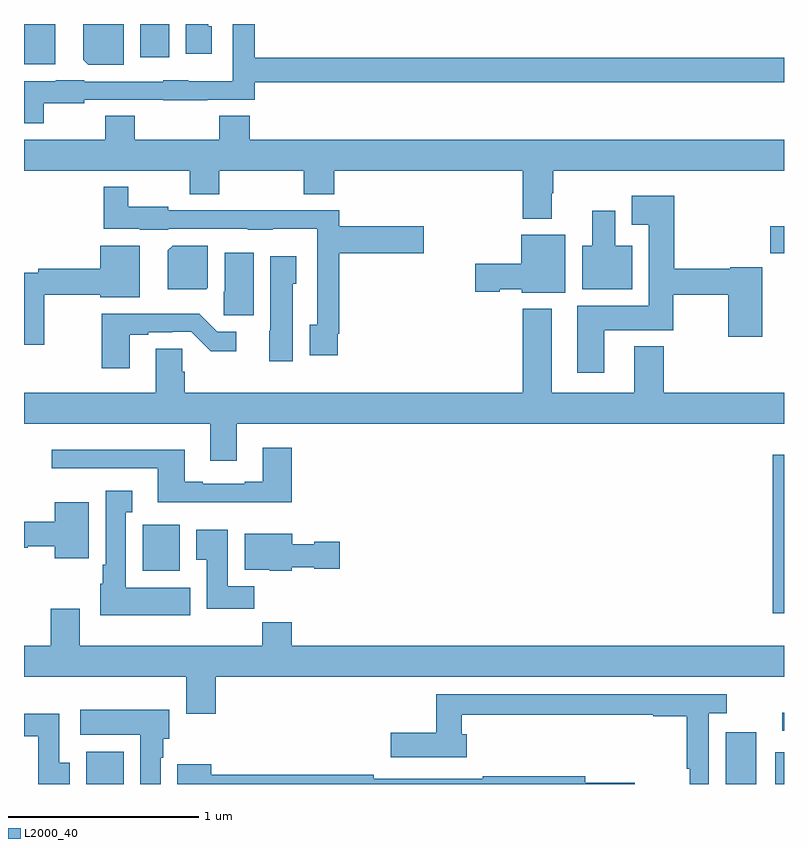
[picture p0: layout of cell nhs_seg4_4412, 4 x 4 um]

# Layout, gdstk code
import gdstk
lib = gdstk.Library(unit=1e-6, precision=1e-09)
def R(c, l, rs):  # rectangles x0, y0, x1, y1
    for r in rs: c.add(gdstk.rectangle(r[:2], r[2:], *l))
def P(c, l, *ps):  # polygons
    for p in ps: c.add(gdstk.Polygon(p, *l))
L2000_40 = (2000, 40)

nhs_seg4_4412 = lib.new_cell('nhs_seg4_4412')
R(nhs_seg4_4412, L2000_40, [(347.327,818.9,347.524,819.07), (350.693,818.9,350.854,819.172), (350.954,818.9,351,819.067), (350.991,819.18,351,819.276), (350.942,819.798,351,820.633), (347.624,820.022,347.821,820.264), (350.928,821.693,351,821.835), (347,822.689,347.164,822.9), (347.612,822.726,347.764,822.9)])
P(nhs_seg4_4412, L2000_40, [(347.104,822.482),(347.316,822.482),(347.316,822.501),(347.733,822.501),(347.733,822.5),(347.965,822.5),(347.965,822.501),(348.215,822.501),(348.215,822.594),(351,822.594),(351,822.722),(348.215,822.722),(348.215,822.9),(348.099,822.9),(348.099,822.598),(347.865,822.598),(347.865,822.604),(347.733,822.604),(347.733,822.597),(347.316,822.597),(347.316,822.604),(347.166,822.604),(347.166,822.598),(347,822.598),(347,822.377),(347.104,822.377)],
  [(347.524,822.9),(347.312,822.9),(347.312,822.712),(347.338,822.686),(347.524,822.686)],
  [(347.989,822.888),(347.971,822.888),(347.971,822.9),(347.852,822.9),(347.852,822.744),(347.989,822.744)],
  [(349.777,822.008),(349.785,822.008),(349.785,822.128),(351,822.128),(351,822.292),(348.188,822.292),(348.188,822.416),(348.028,822.416),(348.028,822.292),(347.583,822.292),(347.583,822.416),(347.428,822.416),(347.428,822.292),(347,822.292),(347,822.128),(347.872,822.128),(347.872,822.004),(348.027,822.004),(348.027,822.128),(348.472,822.128),(348.472,822.004),(348.632,822.004),(348.632,822.128),(349.625,822.128),(349.625,821.876),(349.777,821.876)],
  [(348.652,821.269),(348.659,821.269),(348.659,821.693),(349.105,821.693),(349.105,821.835),(348.659,821.835),(348.659,821.919),(348.409,821.919),(348.409,821.921),(348.177,821.921),(348.177,821.919),(347.76,821.919),(347.76,821.938),(347.548,821.938),(347.548,822.043),(347.419,822.043),(347.419,821.822),(347.61,821.822),(347.61,821.816),(347.76,821.816),(347.76,821.823),(348.177,821.823),(348.177,821.816),(348.309,821.816),(348.309,821.822),(348.543,821.822),(348.543,821.318),(348.503,821.318),(348.503,821.157),(348.652,821.157)],
  [(350.053,821.288),(350.418,821.288),(350.418,821.476),(350.707,821.476),(350.707,821.253),(350.885,821.253),(350.885,821.62),(350.718,821.62),(350.718,821.612),(350.423,821.612),(350.423,821.995),(350.198,821.995),(350.198,821.843),(350.288,821.843),(350.288,821.416),(349.913,821.416),(349.913,821.064),(350.053,821.064)],
  [(350.2,821.734),(350.113,821.734),(350.113,821.917),(349.991,821.917),(349.991,821.734),(349.937,821.734),(349.937,821.504),(350.2,821.504)],
  [(349.849,821.791),(349.616,821.791),(349.616,821.639),(349.374,821.639),(349.374,821.492),(349.503,821.492),(349.503,821.504),(349.62,821.504),(349.62,821.486),(349.849,821.486)],
  [(347.106,821.476),(347.402,821.476),(347.402,821.462),(347.608,821.462),(347.608,821.734),(347.402,821.734),(347.402,821.612),(347.074,821.612),(347.074,821.592),(347,821.592),(347,821.211),(347.106,821.211)],
  [(347.968,821.512),(347.968,821.734),(347.782,821.734),(347.756,821.708),(347.756,821.504),(347.96,821.504)],
  [(348.208,821.695),(348.056,821.695),(348.056,821.49),(348.052,821.49),(348.052,821.367),(348.208,821.367)],
  [(348.415,821.532),(348.433,821.532),(348.433,821.677),(348.296,821.677),(348.296,821.286),(348.29,821.286),(348.29,821.124),(348.415,821.124)],
  [(348.121,820.796),(351,820.796),(351,820.96),(350.366,820.96),(350.366,821.203),(350.213,821.203),(350.213,820.96),(349.777,820.96),(349.777,821.401),(349.625,821.401),(349.625,820.96),(347.846,820.96),(347.846,821.07),(347.832,821.07),(347.832,821.192),(347.693,821.192),(347.693,820.96),(347,820.96),(347,820.796),(347.981,820.796),(347.981,820.602),(348.121,820.602)],
  [(347.557,821.265),(347.653,821.265),(347.653,821.277),(347.78,821.277),(347.78,821.28),(347.88,821.28),(347.983,821.178),(348.118,821.178),(348.118,821.28),(348.018,821.28),(347.923,821.375),(347.41,821.375),(347.41,821.088),(347.557,821.088)],
  [(348.41,820.669),(348.257,820.669),(348.257,820.492),(348.161,820.492),(348.161,820.479),(347.941,820.479),(347.941,820.492),(347.845,820.492),(347.845,820.66),(347.145,820.66),(347.145,820.563),(347.705,820.563),(347.705,820.382),(348.41,820.382)],
  [(347.875,819.934),(347.536,819.934),(347.536,820.331),(347.569,820.331),(347.569,820.444),(347.429,820.444),(347.429,820.054),(347.414,820.054),(347.414,819.954),(347.402,819.954),(347.402,819.788),(347.875,819.788)],
  [(347.341,820.384),(347.162,820.384),(347.162,820.28),(347,820.28),(347,820.144),(347.019,820.144),(347.019,820.152),(347.162,820.152),(347.162,820.088),(347.341,820.088)],
  [(348.212,819.94),(348.073,819.94),(348.073,820.237),(347.906,820.237),(347.906,820.081),(347.963,820.081),(347.963,819.822),(348.212,819.822)],
  [(348.408,820.04),(348.528,820.04),(348.528,820.033),(348.661,820.033),(348.661,820.175),(348.528,820.175),(348.528,820.162),(348.412,820.162),(348.412,820.216),(348.161,820.216),(348.161,820.028),(348.294,820.028),(348.294,820.022),(348.408,820.022)],
  [(348.008,819.464),(351,819.464),(351,819.628),(348.41,819.628),(348.41,819.752),(348.253,819.752),(348.253,819.628),(347.293,819.628),(347.293,819.823),(347.141,819.823),(347.141,819.628),(347,819.628),(347,819.464),(347.855,819.464),(347.855,819.27),(348.008,819.27)],
  [(350.604,819.272),(350.698,819.272),(350.698,819.372),(349.171,819.372),(349.171,819.171),(348.93,819.171),(348.93,819.041),(349.331,819.041),(349.331,819.163),(349.303,819.163),(349.303,819.264),(350.311,819.264),(350.311,819.256),(350.488,819.256),(350.488,818.979),(350.503,818.979),(350.503,818.9),(350.604,818.9)],
  [(347.719,819.038),(347.734,819.038),(347.734,819.138),(347.764,819.138),(347.764,819.292),(347.295,819.292),(347.295,819.158),(347.612,819.158),(347.612,818.9),(347.719,818.9)],
  [(347.242,819.012),(347.185,819.012),(347.185,819.271),(347,819.271),(347,819.152),(347.075,819.152),(347.075,818.9),(347.242,818.9)],
  [(350.215,818.907),(349.954,818.907),(349.954,818.941),(349.414,818.941),(349.414,818.928),(348.842,818.928),(348.842,818.948),(347.986,818.948),(347.986,819.004),(347.807,819.004),(347.807,818.9),(350.215,818.9)])

lib.write_gds('nhs_seg4_4412.gds')
